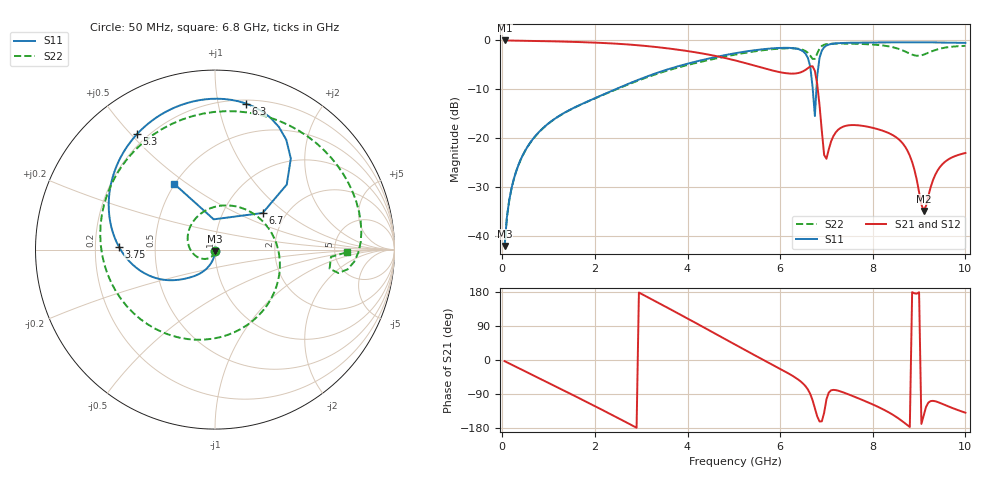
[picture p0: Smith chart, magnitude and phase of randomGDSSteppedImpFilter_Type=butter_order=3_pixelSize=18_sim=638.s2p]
! freq	dB(S11)	phase(S11)	dB(S12)	phase(S12)
!  dB(S21)	phase(S21)	dB(S22)	phase(S22)
!S-par simulation data
#  GHz  S  DB  R 50
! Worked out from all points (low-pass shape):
!   200 points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, 50 MHz to 10 GHz, reference 50 ohm
!   highest |S21| = -0.01 dB at 50 MHz (marker M1); lowest = -34.9 dB at 9.1 GHz (marker M2)
!   |S21| within 3 dB of the highest: start of sweep to 4.513 GHz
!   lowest |S11| = -42.0 dB at 50 MHz (marker M3), VSWR 1.02, Z = 50 - j0.792 ohm
!   |S11| at or under -10 dB: start of sweep to 2.441 GHz; 6.704 GHz to 6.783 GHz (79.15 MHz wide, 1.17 % of centre)
!   |S22| runs from -42.1 to -0.6 dB; largest |S21 - S12| = 0
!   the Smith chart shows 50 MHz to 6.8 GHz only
!   S11 on the Smith chart (normalised r, x): 50 MHz: 1.00, -0.02; 3.75 GHz: 0.30, +0.01; 5.3 GHz: 0.16, +0.52; 6.3 GHz: 0.23, +1.21; 6.7 GHz: 1.53, +0.70; 6.8 GHz: 0.49, +0.45
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0.05  -42.02 -89.8  -0.01 -3.1  -0.01 -3.1  -42.08 -92.8
0.2  -30.20 -95.7  -0.02 -12.2  -0.02 -12.2  -30.25 -107.9
0.5  -22.43 -105.5  -0.07 -30.4  -0.07 -30.4  -22.50 -136.1
1.75  -12.87 -135.0  -0.36 -106.3  -0.36 -106.3  -12.89 101.0
2.6  -9.36 -150.8  -0.75 -159.6  -0.75 -159.6  -9.46 10.6
3.4  -6.45 -171.3  -1.43 148.9  -1.43 148.9  -6.65 -71.8
3.75  -5.41 178.2  -1.84 126.0  -1.84 126.0  -5.66 -107.0
4.45  -3.72 155.2  -2.89 79.5  -2.89 79.5  -4.02 -177.2
5.05  -2.58 133.6  -4.14 39.2  -4.14 39.2  -2.86 123.4
5.3  -2.20 124.0  -4.77 22.5  -4.77 22.5  -2.45 99.6
6.3  -1.60 78.0  -6.78 -44.2  -6.78 -44.2  -1.62 14.5
6.7  -9.50 37.5  -5.28 -106.0  -5.28 -106.0  -3.78 -9.5
6.75  -15.46 92.4  -6.23 -127.4  -6.23 -127.4  -3.78 -3.6
6.8  -7.27 121.9  -8.92 -148.7  -8.92 -148.7  -2.66 -1.1
7  -1.04 85.4  -24.20 -103.6  -24.20 -103.6  -0.76 -20.8
7.75  -0.44 42.1  -17.43 -104.2  -17.43 -104.2  -0.72 -74.1
8.35  -0.41 19.3  -18.97 -138.5  -18.97 -138.5  -1.22 -126.3
8.75  -0.39 5.3  -22.56 -172.2  -22.56 -172.2  -2.48 163.3
8.95  -0.39 -1.5  -28.50 175.0  -28.50 175.0  -3.13 103.2
9.1  -0.39 -6.6  -34.86 -145.8  -34.86 -145.8  -2.90 55.4
9.4  -0.42 -16.4  -26.59 -110.9  -26.59 -110.9  -1.82 -11.4
10  -0.50 -35.3  -23.02 -139.1  -23.02 -139.1  -1.11 -70.5
